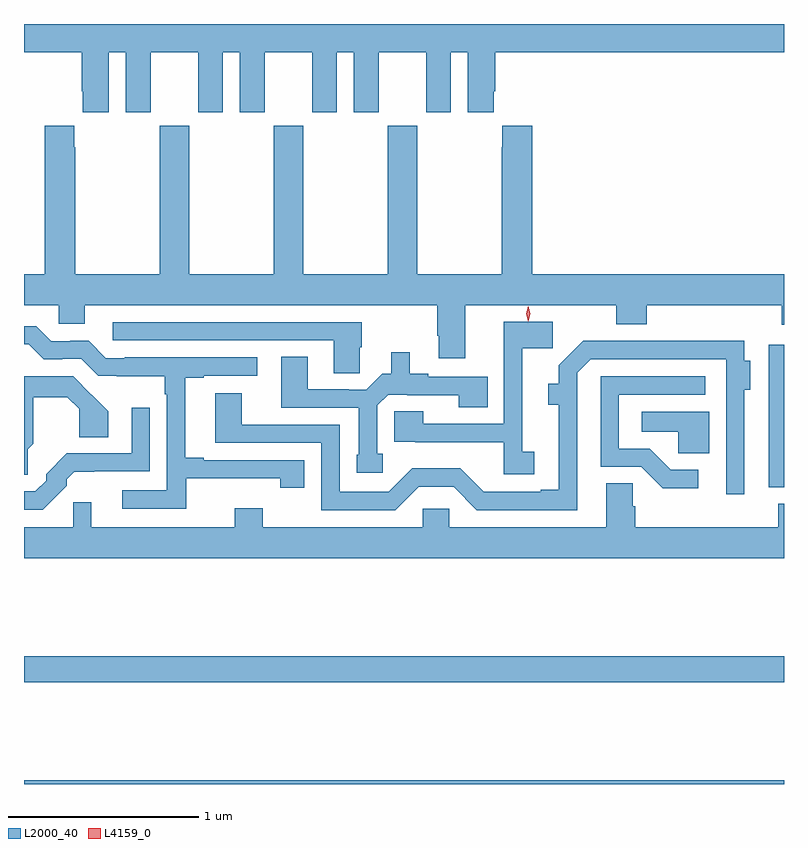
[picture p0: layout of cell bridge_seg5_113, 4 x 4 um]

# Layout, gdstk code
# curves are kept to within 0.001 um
import gdstk
lib = gdstk.Library(unit=1e-6, precision=1e-09)
def R(c, l, rs):  # rectangles x0, y0, x1, y1
    for r in rs: c.add(gdstk.rectangle(r[:2], r[2:], *l))
def P(c, l, *ps):  # polygons
    for p in ps: c.add(gdstk.Polygon(p, *l))
L2000_40 = (2000, 40)
L4159_0 = (4159, 0)

bridge_seg5_113 = lib.new_cell('bridge_seg5_113')
R(bridge_seg5_113, L2000_40, [(381.481,860.9,385.481,860.92), (381.481,861.436,385.481,861.572), (385.401,862.461,385.481,863.211)])
P(bridge_seg5_113, L2000_40, [(381.928,864.752),(382.016,864.752),(382.016,864.435),(382.147,864.435),(382.147,864.752),(382.397,864.752),(382.397,864.435),(382.528,864.435),(382.528,864.752),(382.616,864.752),(382.616,864.435),(382.747,864.435),(382.747,864.752),(382.997,864.752),(382.997,864.435),(383.128,864.435),(383.128,864.752),(383.216,864.752),(383.216,864.435),(383.347,864.435),(383.347,864.752),(383.597,864.752),(383.597,864.435),(383.728,864.435),(383.728,864.752),(383.816,864.752),(383.816,864.435),(383.953,864.435),(383.953,864.547),(383.96,864.547),(383.96,864.752),(385.481,864.752),(385.481,864.9),(381.481,864.9),(381.481,864.752),(381.785,864.752),(381.785,864.547),(381.791,864.547),(381.791,864.435),(381.928,864.435)],
  [(383.803,863.42),(384.598,863.42),(384.598,863.321),(384.758,863.321),(384.758,863.42),(385.469,863.42),(385.469,863.318),(385.481,863.318),(385.481,863.584),(384.155,863.584),(384.155,864.364),(383.999,864.364),(383.999,864.251),(383.995,864.251),(383.995,863.584),(383.55,863.584),(383.55,864.364),(383.395,864.364),(383.395,863.584),(382.95,863.584),(382.95,864.364),(382.795,864.364),(382.795,863.584),(382.35,863.584),(382.35,864.364),(382.195,864.364),(382.195,863.584),(381.75,863.584),(381.75,864.251),(381.745,864.251),(381.745,864.364),(381.59,864.364),(381.59,863.584),(381.481,863.584),(381.481,863.42),(381.663,863.42),(381.663,863.322),(381.802,863.322),(381.802,863.42),(383.656,863.42),(383.656,863.26),(383.663,863.26),(383.663,863.142),(383.803,863.142)],
  [(384.166,862.65),(384.103,862.65),(384.103,863.193),(384.264,863.193),(384.264,863.332),(384.006,863.332),(384.006,862.797),(383.583,862.797),(383.583,862.862),(383.429,862.862),(383.429,862.701),(383.539,862.701),(383.539,862.7),(384.006,862.7),(384.006,862.53),(384.166,862.53)],
  [(383.249,863.199),(383.259,863.199),(383.259,863.331),(381.948,863.331),(381.948,863.235),(383.111,863.235),(383.111,863.062),(383.249,863.062)],
  [(382.334,862.508),(382.829,862.508),(382.829,862.458),(382.957,862.458),(382.957,862.605),(382.426,862.605),(382.426,862.618),(382.33,862.618),(382.33,863.037),(382.426,863.037),(382.426,863.049),(382.708,863.049),(382.708,863.145),(382.012,863.145),(382.012,863.142),(381.912,863.142),(381.822,863.232),(381.725,863.232),(381.725,863.229),(381.624,863.229),(381.545,863.308),(381.481,863.308),(381.481,863.214),(381.507,863.214),(381.585,863.136),(381.683,863.136),(381.683,863.139),(381.783,863.139),(381.873,863.049),(381.97,863.049),(381.97,863.046),(382.221,863.046),(382.221,862.952),(382.233,862.952),(382.233,862.446),(381.999,862.446),(381.999,862.35),(382.334,862.35)],
  [(383.559,862.464),(383.742,862.464),(383.865,862.341),(384.393,862.341),(384.393,863.064),(384.465,863.136),(385.176,863.136),(385.176,862.425),(385.272,862.425),(385.272,862.976),(385.303,862.976),(385.303,863.128),(385.272,863.128),(385.272,863.234),(384.841,863.234),(384.841,863.232),(384.526,863.232),(384.526,863.234),(384.425,863.234),(384.296,863.104),(384.296,863.006),(384.239,863.006),(384.239,862.896),(384.296,862.896),(384.296,862.45),(384.2,862.45),(384.2,862.437),(383.902,862.437),(383.778,862.561),(383.524,862.561),(383.4,862.437),(383.142,862.437),(383.142,862.791),(382.627,862.791),(382.627,862.957),(382.487,862.957),(382.487,862.695),(383.046,862.695),(383.046,862.341),(383.436,862.341)],
  [(383.37,862.638),(383.34,862.638),(383.34,862.893),(383.397,862.95),(383.497,862.95),(383.497,862.947),(383.77,862.947),(383.77,862.882),(383.921,862.882),(383.921,863.043),(383.608,863.043),(383.608,863.058),(383.512,863.058),(383.512,863.173),(383.414,863.173),(383.414,863.058),(383.367,863.058),(383.283,862.974),(383.189,862.974),(383.189,862.977),(382.975,862.977),(382.975,863.15),(382.835,863.15),(382.835,862.881),(383.244,862.881),(383.244,862.632),(383.231,862.632),(383.231,862.539),(383.37,862.539)],
  [(381.501,862.661),(381.53,862.69),(381.53,862.935),(381.709,862.935),(381.771,862.874),(381.771,862.726),(381.925,862.726),(381.925,862.862),(381.739,863.046),(381.481,863.046),(381.481,862.527),(381.501,862.527)],
  [(385.03,862.554),(384.885,862.554),(384.774,862.665),(384.612,862.665),(384.612,862.95),(385.066,862.95),(385.066,863.046),(384.516,863.046),(384.516,862.569),(384.729,862.569),(384.842,862.457),(385.03,862.457)],
  [(381.706,862.469),(381.706,862.504),(381.746,862.544),(382.143,862.545),(382.143,862.879),(382.047,862.879),(382.047,862.641),(381.707,862.641),(381.597,862.531),(381.597,862.497),(381.54,862.44),(381.481,862.44),(381.481,862.344),(381.58,862.344)],
  [(385.087,862.858),(384.732,862.858),(384.732,862.754),(384.924,862.754),(384.924,862.64),(385.087,862.64)],
  [(385.481,862.376),(385.451,862.376),(385.451,862.252),(384.698,862.252),(384.698,862.361),(384.684,862.361),(384.684,862.484),(384.545,862.484),(384.545,862.252),(383.718,862.252),(383.718,862.35),(383.58,862.35),(383.58,862.252),(382.737,862.252),(382.737,862.351),(382.589,862.351),(382.589,862.252),(381.835,862.252),(381.835,862.382),(381.739,862.382),(381.739,862.252),(381.481,862.252),(381.481,862.088),(385.481,862.088)])
P(bridge_seg5_113, L4159_0, [(384.135,863.334),(384.135,863.335),(384.125,863.375),(384.135,863.415),(384.135,863.415),(384.135,863.415),(384.145,863.375),(384.135,863.335)])

lib.write_gds('bridge_seg5_113.gds')
